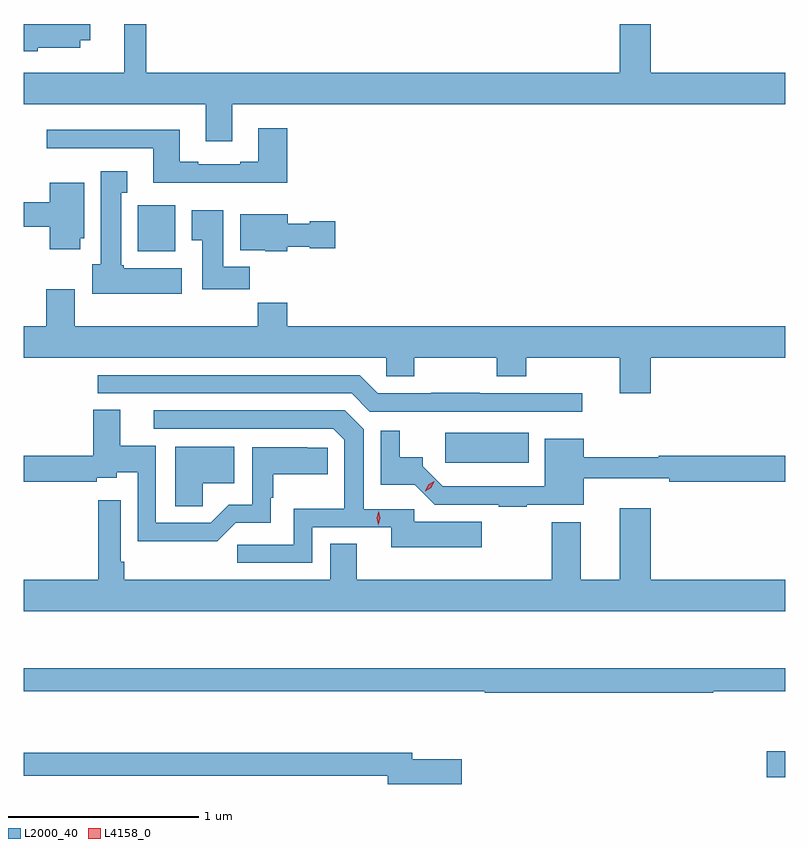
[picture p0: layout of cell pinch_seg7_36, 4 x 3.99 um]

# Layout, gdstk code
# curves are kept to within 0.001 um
import gdstk
lib = gdstk.Library(unit=1e-6, precision=1e-09)
def R(c, l, rs):  # rectangles x0, y0, x1, y1
    for r in rs: c.add(gdstk.rectangle(r[:2], r[2:], *l))
def P(c, l, *ps):  # polygons
    for p in ps: c.add(gdstk.Polygon(p, *l))
L2000_40 = (2000, 40)
L4158_0 = (4158, 0)

pinch_seg7_36 = lib.new_cell('pinch_seg7_36')
R(pinch_seg7_36, L2000_40, [(1052.892,1067.674,1052.989,1067.811), (1051.203,1069.328,1051.642,1069.486), (1049.588,1070.438,1049.785,1070.68)])
P(pinch_seg7_36, L2000_40, [(1049.061,1071.509),(1049.284,1071.509),(1049.284,1071.548),(1049.338,1071.548),(1049.338,1071.633),(1048.989,1071.633),(1048.989,1071.491),(1049.061,1071.491)],
  [(1050.085,1071.212),(1052.989,1071.212),(1052.989,1071.376),(1052.284,1071.376),(1052.284,1071.633),(1052.12,1071.633),(1052.12,1071.376),(1049.633,1071.376),(1049.633,1071.633),(1049.515,1071.633),(1049.515,1071.376),(1048.989,1071.376),(1048.989,1071.212),(1049.945,1071.212),(1049.945,1071.018),(1050.085,1071.018)],
  [(1050.374,1071.085),(1050.221,1071.085),(1050.221,1070.908),(1050.125,1070.908),(1050.125,1070.895),(1049.905,1070.895),(1049.905,1070.908),(1049.809,1070.908),(1049.809,1071.076),(1049.109,1071.076),(1049.109,1070.979),(1049.669,1070.979),(1049.669,1070.798),(1050.374,1070.798)],
  [(1049.818,1070.35),(1049.514,1070.35),(1049.514,1070.364),(1049.5,1070.364),(1049.5,1070.747),(1049.533,1070.747),(1049.533,1070.86),(1049.393,1070.86),(1049.393,1070.37),(1049.348,1070.37),(1049.348,1070.216),(1049.818,1070.216)],
  [(1049.284,1070.508),(1049.305,1070.508),(1049.305,1070.8),(1049.126,1070.8),(1049.126,1070.696),(1048.989,1070.696),(1048.989,1070.568),(1049.126,1070.568),(1049.126,1070.448),(1049.284,1070.448)],
  [(1050.176,1070.356),(1050.037,1070.356),(1050.037,1070.653),(1049.87,1070.653),(1049.87,1070.497),(1049.927,1070.497),(1049.927,1070.238),(1050.176,1070.238)],
  [(1050.372,1070.462),(1050.492,1070.462),(1050.492,1070.455),(1050.625,1070.455),(1050.625,1070.597),(1050.492,1070.597),(1050.492,1070.584),(1050.376,1070.584),(1050.376,1070.632),(1050.125,1070.632),(1050.125,1070.444),(1050.258,1070.444),(1050.258,1070.438),(1050.372,1070.438)],
  [(1052.284,1069.88),(1052.989,1069.88),(1052.989,1070.044),(1050.374,1070.044),(1050.374,1070.168),(1050.217,1070.168),(1050.217,1070.044),(1049.257,1070.044),(1049.257,1070.239),(1049.105,1070.239),(1049.105,1070.044),(1048.989,1070.044),(1048.989,1069.88),(1050.894,1069.88),(1050.894,1069.782),(1051.041,1069.782),(1051.041,1069.88),(1051.474,1069.88),(1051.474,1069.781),(1051.629,1069.781),(1051.629,1069.88),(1052.12,1069.88),(1052.12,1069.692),(1052.284,1069.692)],
  [(1051.924,1069.692),(1051.385,1069.692),(1051.385,1069.694),(1051.129,1069.694),(1051.129,1069.692),(1050.849,1069.692),(1050.753,1069.788),(1049.376,1069.788),(1049.376,1069.692),(1050.711,1069.692),(1050.807,1069.596),(1051.924,1069.596)],
  [(1050.102,1069.011),(1050.285,1069.011),(1050.285,1069.143),(1050.298,1069.143),(1050.298,1069.268),(1050.586,1069.268),(1050.586,1069.407),(1050.189,1069.408),(1050.189,1069.107),(1050.066,1069.107),(1049.97,1069.011),(1049.682,1069.011),(1049.682,1069.417),(1049.494,1069.417),(1049.494,1069.606),(1049.354,1069.606),(1049.354,1069.364),(1048.989,1069.364),(1048.989,1069.228),(1049.372,1069.228),(1049.372,1069.248),(1049.476,1069.248),(1049.476,1069.277),(1049.586,1069.277),(1049.586,1068.914),(1050.005,1068.914)],
  [(1050.504,1068.987),(1050.92,1068.987),(1050.92,1068.884),(1051.396,1068.884),(1051.396,1069.018),(1051.041,1069.018),(1051.041,1069.083),(1050.775,1069.083),(1050.775,1069.502),(1050.675,1069.602),(1049.67,1069.602),(1049.67,1069.506),(1050.615,1069.506),(1050.672,1069.449),(1050.672,1069.085),(1050.408,1069.085),(1050.408,1068.896),(1050.111,1068.896),(1050.111,1068.801),(1050.504,1068.801)],
  [(1051.631,1069.107),(1051.93,1069.107),(1051.93,1069.247),(1052.38,1069.247),(1052.38,1069.228),(1052.989,1069.228),(1052.989,1069.364),(1052.326,1069.364),(1052.326,1069.357),(1051.93,1069.357),(1051.93,1069.453),(1051.727,1069.453),(1051.727,1069.203),(1051.191,1069.203),(1051.086,1069.308),(1051.086,1069.357),(1050.963,1069.357),(1050.963,1069.495),(1050.864,1069.495),(1050.864,1069.212),(1051.044,1069.212),(1051.149,1069.107),(1051.483,1069.107),(1051.483,1069.095),(1051.631,1069.095)],
  [(1049.93,1069.22),(1050.094,1069.22),(1050.094,1069.411),(1049.783,1069.411),(1049.783,1069.098),(1049.93,1069.098)],
  [(1052.989,1068.712),(1052.284,1068.712),(1052.284,1069.087),(1052.12,1069.087),(1052.12,1068.712),(1051.915,1068.712),(1051.915,1069.015),(1051.763,1069.015),(1051.763,1068.712),(1050.739,1068.712),(1050.739,1068.902),(1050.599,1068.902),(1050.599,1068.712),(1049.515,1068.712),(1049.515,1068.808),(1049.497,1068.808),(1049.497,1069.129),(1049.379,1069.129),(1049.379,1068.712),(1048.989,1068.712),(1048.989,1068.548),(1052.989,1068.548)],
  [(1052.611,1068.126),(1052.989,1068.126),(1052.989,1068.247),(1048.989,1068.247),(1048.989,1068.126),(1051.411,1068.126),(1051.411,1068.118),(1052.611,1068.118)],
  [(1051.291,1067.769),(1051.03,1067.769),(1051.03,1067.803),(1048.989,1067.803),(1048.989,1067.682),(1050.902,1067.682),(1050.902,1067.639),(1051.291,1067.639)])
P(pinch_seg7_36, L4158_0, [(1051.097,1069.177),(1051.097,1069.178),(1051.114,1069.211),(1051.146,1069.23),(1051.146,1069.23),(1051.146,1069.23),(1051.129,1069.197),(1051.098,1069.177)],
  [(1050.851,1069),(1050.851,1069.001),(1050.842,1069.037),(1050.853,1069.072),(1050.853,1069.072),(1050.854,1069.072),(1050.862,1069.036),(1050.851,1069.001)])

lib.write_gds('pinch_seg7_36.gds')
